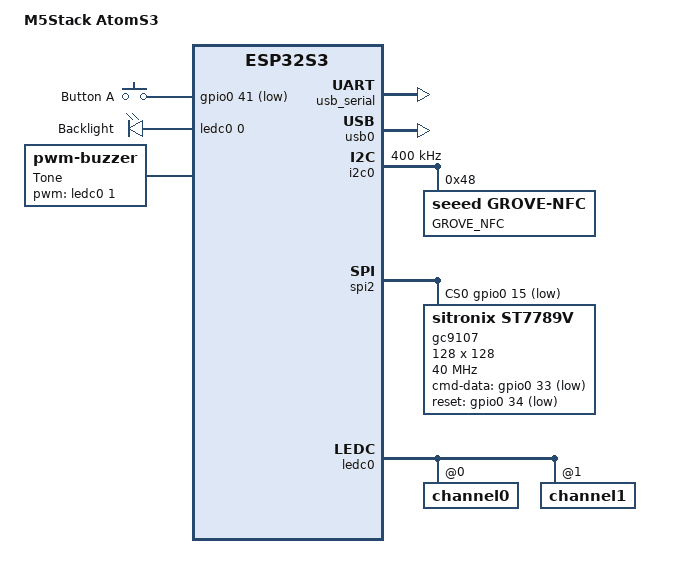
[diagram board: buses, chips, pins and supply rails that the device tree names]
/dts-v1/;

#include <espressif/esp32s3/esp32s3_mini_n8.dtsi>
#include "m5stack_atoms3-pinctrl.dtsi"
#include <zephyr/dt-bindings/input/input-event-codes.h>

/ {
	model = "M5Stack AtomS3";
	compatible = "m5stack,atoms3";

	chosen {
		zephyr,sram    = &sram0;
		zephyr,flash   = &flash0;
		zephyr,console = &cdc_acm_uart0;
		zephyr,shell-uart = &cdc_acm_uart0;
		zephyr,display = &gc9107;
	};

	aliases {
		sw0        = &btn_a;
		watchdog0  = &wdt0;
		pwm-tone   = &pwm_tone;
		pwm-bl     = &pwm_bl;
		grove-nfc  = &grove_nfc;
	};

	/* ── Button ─────────────────────────────────────────────────────── */
	buttons {
		compatible = "gpio-keys";
		btn_a: button_a {
			gpios = <&gpio0 41 (GPIO_PULL_UP | GPIO_ACTIVE_LOW)>;
			label = "Button A";
			zephyr,code = <INPUT_KEY_0>;
		};
	};

	/* ── PWM nodes ──────────────────────────────────────────────────── */
	/*  Channel 0 → backlight (GPIO16)                                   */
	pwm_bl: pwm-backlight {
		compatible = "pwm-leds";
		pwm_bl_ch: pwm_bl_ch {
			pwms = <&ledc0 0 PWM_HZ(1000) PWM_POLARITY_NORMAL>;
			label = "Backlight";
		};
	};

	/*  Channel 1 → piezo/speaker tone (GPIO (choose free pin))         */
	pwm_tone: pwm-tone {
		compatible = "pwm-buzzer";
		pwms = <&ledc0 1 PWM_HZ(1000) PWM_POLARITY_NORMAL>;
		label = "Tone";
	};
};

/* ── USB CDC (virtual serial port) ─────────────────────────────────────── */
&usb_serial {
	status = "okay";
};

zephyr_udc0: &usb0 {
	status = "okay";
	cdc_acm_uart0: cdc_acm_uart0 {
		compatible = "zephyr,cdc-acm-uart";
	};
};

/* ── I2C0: Grove PORT-A (SDA=GPIO2, SCL=GPIO1) ─────────────────────────── */
&i2c0 {
	status = "okay";
	clock-frequency = <I2C_BITRATE_FAST>;  /* 400 kHz */
	pinctrl-0 = <&i2c0_default>;
	pinctrl-names = "default";

	grove_nfc: grove_nfc@48 {
		compatible = "seeed,grove-nfc";
		reg = <0x48>;
		label = "GROVE_NFC";
		status = "okay";
	};
};

/* ── SPI2: GC9107 Display ───────────────────────────────────────────────── */
&spi2 {
	status = "okay";
	pinctrl-0 = <&spi2_default>;
	pinctrl-names = "default";
	cs-gpios = <&gpio0 15 GPIO_ACTIVE_LOW>;

	/* GC9107 is ST7789V-compatible in SPI mode */
	gc9107: gc9107@0 {
		compatible = "sitronix,st7789v";
		reg = <0>;
		spi-max-frequency = <DT_FREQ_M(40)>;
		cmd-data-gpios = <&gpio0 33 GPIO_ACTIVE_LOW>;
		reset-gpios    = <&gpio0 34 GPIO_ACTIVE_LOW>;
		width    = <128>;
		height   = <128>;
		x-offset = <2>;
		y-offset = <1>;
		/* GC9107 init values (tuned for AtomS3 panel) */
		vcom        = <0x19>;
		gctrl       = <0x35>;
		vrhs        = <0x12>;
		vdvs        = <0x20>;
		mdac        = <0x00>;
		gamma       = <0x01>;
		colmod      = <0x55>;    /* 16-bit RGB565 */
		lcm         = <0x2c>;
		porch-param = [0c 0c 00 33 33];
		cmd2en-param = [5a 69 02 01];
		pwctrl1-param = [a4 a1];
		pvgam-param = [D0 08 11 08 08 28 2E 48 41 2D 10 09 09 21 21];
		nvgam-param = [D0 08 10 08 06 06 39 44 51 0B 16 14 2F 31];
		ram-param   = [00 F8];
		rgb-param   = [CD 08 14];
	};
};

/* ── LEDC (PWM) ─────────────────────────────────────────────────────────── */
&ledc0 {
	status = "okay";
	pinctrl-0 = <&ledc0_default>;
	pinctrl-names = "default";
	#address-cells = <1>;
	#size-cells = <0>;

	/* Channel 0: display backlight (GPIO16) */
	channel0@0 {
		reg = <0x0>;
		timer = <0>;
	};

	/* Channel 1: speaker/buzzer tone (GPIO pin chosen at build time) */
	channel1@1 {
		reg = <0x1>;
		timer = <1>;
	};
};

/* ── Flash partitions (8 MB) ────────────────────────────────────────────── */
&flash0 {
	partitions {
		compatible = "fixed-partitions";
		#address-cells = <1>;
		#size-cells = <1>;

		/* Zephyr image (first 6 MB) */
		slot0_partition: partition@10000 {
			label = "image-0";
			reg = <0x00010000 0x5F0000>;
		};

		/* NVS settings storage (last 512 KB) */
		storage_partition: partition@780000 {
			label = "storage";
			reg = <0x00780000 0x80000>;
		};
	};
};
